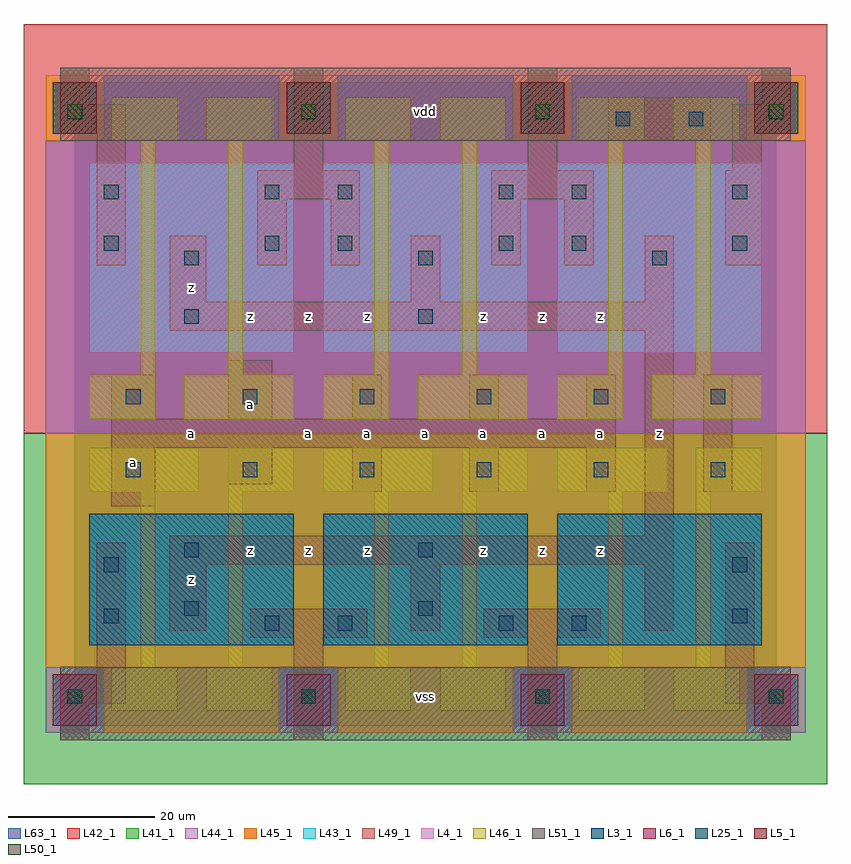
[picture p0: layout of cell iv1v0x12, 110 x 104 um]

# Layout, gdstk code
import gdstk
lib = gdstk.Library(unit=1e-6, precision=1e-09)
def R(c, l, rs):  # rectangles x0, y0, x1, y1
    for r in rs: c.add(gdstk.rectangle(r[:2], r[2:], *l))
def A(c, l, x, y, w, h, nx, ny, dx, dy):  # array of equal rectangles
    R(c, l, [(x+i*dx, y+j*dy, x+i*dx+w, y+j*dy+h) for i in range(nx) for j in range(ny)])
L3_1 = (3, 1)
L4_1 = (4, 1)
L5_1 = (5, 1)
L6_1 = (6, 1)
L25_1 = (25, 1)
L41_1 = (41, 1)
L42_1 = (42, 1)
L43_1 = (43, 1)
L44_1 = (44, 1)
L45_1 = (45, 1)
L46_1 = (46, 1)
L49_1 = (49, 1)
L50_1 = (50, 1)
L51_1 = (51, 1)
L63_1 = (63, 1)

iv1v0x12 = lib.new_cell('iv1v0x12')
A(iv1v0x12, L3_1, 2, 11, 28, 18, 3, 1, 32, 0)
A(iv1v0x12, L4_1, 2, 51, 28, 26, 3, 1, 32, 0)
A(iv1v0x12, L5_1, -3, 81, 6, 7, 4, 1, 32, 0)
R(iv1v0x12, L6_1, [(-3,0,3,7), (-3,0,3,7), (29,0,35,7), (29,0,35,7), (61,0,67,7), (61,0,67,7), (93,0,99,7), (93,0,99,7)])
A(iv1v0x12, L25_1, -1, 3, 2, 2, 4, 2, 32, 80)
A(iv1v0x12, L25_1, 7, 34, 2, 2, 6, 2, 16, 10)
A(iv1v0x12, L25_1, 15, 63, 2, 2, 3, 1, 32, 0)
R(iv1v0x12, L25_1, [(26,13,28,15), (36,13,38,15), (58,13,60,15), (68,13,70,15), (4,14,6,16), (90,14,92,16), (15,15,17,17), (47,15,49,17), (4,21,6,23), (90,21,92,23), (15,23,17,25), (47,23,49,25), (15,55,17,57), (47,55,49,57), (4,65,6,67), (26,65,28,67), (36,65,38,67), (58,65,60,67), (68,65,70,67), (90,65,92,67), (4,72,6,74), (26,72,28,74), (36,72,38,74), (58,72,60,74), (68,72,70,74), (90,72,92,74), (74,82,76,84), (84,82,86,84)])
R(iv1v0x12, L41_1, [(-7,-8,103,40)])
R(iv1v0x12, L42_1, [(-7,40,103,96)])
A(iv1v0x12, L43_1, -3, 0, 6, 7, 4, 2, 32, 81)
A(iv1v0x12, L43_1, 2, 11, 28, 18, 3, 1, 32, 0)
A(iv1v0x12, L43_1, 2, 51, 28, 26, 3, 1, 32, 0)
A(iv1v0x12, L44_1, -4, -1, 8, 9, 4, 1, 32, 0)
A(iv1v0x12, L44_1, 4, 80, 24, 9, 3, 1, 32, 0)
R(iv1v0x12, L44_1, [(-4,40,100,80)])
A(iv1v0x12, L45_1, 4, -1, 24, 9, 3, 1, 32, 0)
A(iv1v0x12, L45_1, -4, 80, 8, 9, 4, 1, 32, 0)
R(iv1v0x12, L45_1, [(-4,8,100,40)])
A(iv1v0x12, L46_1, 2, 32, 15, 6, 3, 1, 32, 0)
A(iv1v0x12, L46_1, 21, 32, 9, 6, 3, 1, 32, 0)
A(iv1v0x12, L46_1, 2, 42, 9, 6, 3, 1, 32, 0)
A(iv1v0x12, L46_1, 15, 42, 15, 6, 3, 1, 32, 0)
R(iv1v0x12, L46_1, [(5,2,14,8), (18,2,27,8), (37,2,46,8), (50,2,59,8), (69,2,78,8), (82,2,91,8), (9,8,11,32), (21,8,23,32), (41,8,43,32), (53,8,55,32), (73,8,75,32), (85,8,87,32), (9,48,11,80), (21,48,23,80), (41,48,43,80), (53,48,55,80), (73,48,75,80), (85,48,87,80), (5,80,14,86), (18,80,27,86), (37,80,46,86), (50,80,59,86), (69,80,78,86), (82,80,91,86)])
A(iv1v0x12, L49_1, 38, 32, 4, 6, 3, 2, 16, 10)
R(iv1v0x12, L49_1, [(-2,-2,2,3), (30,-2,34,12), (62,-2,66,12), (94,-2,98,3), (-2,3,7,7), (89,3,98,7), (3,7,7,25), (89,7,93,25), (24,12,40,16), (56,12,72,16), (13,13,18,22), (46,13,50,22), (78,13,82,22), (13,22,82,26), (78,26,82,54), (5,30,11,38), (86,32,90,48), (21,33,27,38), (5,38,74,42), (5,42,11,48), (21,42,27,50), (13,54,82,58), (13,58,18,67), (46,58,50,67), (78,58,82,67), (3,63,7,81), (25,63,29,72), (35,63,39,72), (57,63,61,72), (67,63,71,72), (89,63,94,76), (25,72,39,76), (57,72,71,76), (30,76,34,90), (62,76,66,90), (90,76,94,81), (73,80,87,86), (-2,81,7,85), (90,81,98,85), (-2,85,2,90), (94,85,98,90)])
A(iv1v0x12, L50_1, -1, 3, 2, 2, 4, 2, 32, 80)
R(iv1v0x12, L51_1, [(-2,-2,98,8), (-2,80,98,90)])
R(iv1v0x12, L63_1, [(0,0,96,88)])
iv1v0x12.add(gdstk.Label('a', (8,36), layer=49, texttype=1))
iv1v0x12.add(gdstk.Label('z', (16,20), layer=49, texttype=1))
iv1v0x12.add(gdstk.Label('z', (32,24), layer=49, texttype=1))
iv1v0x12.add(gdstk.Label('z', (24,24), layer=49, texttype=1))
iv1v0x12.add(gdstk.Label('a', (16,40), layer=49, texttype=1))
iv1v0x12.add(gdstk.Label('a', (32,40), layer=49, texttype=1))
iv1v0x12.add(gdstk.Label('a', (24,44), layer=49, texttype=1))
iv1v0x12.add(gdstk.Label('z', (24,56), layer=49, texttype=1))
iv1v0x12.add(gdstk.Label('z', (32,56), layer=49, texttype=1))
iv1v0x12.add(gdstk.Label('z', (16,60), layer=49, texttype=1))
iv1v0x12.add(gdstk.Label('z', (40,24), layer=49, texttype=1))
iv1v0x12.add(gdstk.Label('z', (56,24), layer=49, texttype=1))
iv1v0x12.add(gdstk.Label('a', (40,40), layer=49, texttype=1))
iv1v0x12.add(gdstk.Label('a', (56,40), layer=49, texttype=1))
iv1v0x12.add(gdstk.Label('a', (48,40), layer=49, texttype=1))
iv1v0x12.add(gdstk.Label('z', (56,56), layer=49, texttype=1))
iv1v0x12.add(gdstk.Label('z', (40,56), layer=49, texttype=1))
iv1v0x12.add(gdstk.Label('z', (72,24), layer=49, texttype=1))
iv1v0x12.add(gdstk.Label('z', (64,24), layer=49, texttype=1))
iv1v0x12.add(gdstk.Label('a', (72,40), layer=49, texttype=1))
iv1v0x12.add(gdstk.Label('a', (64,40), layer=49, texttype=1))
iv1v0x12.add(gdstk.Label('z', (64,56), layer=49, texttype=1))
iv1v0x12.add(gdstk.Label('z', (72,56), layer=49, texttype=1))
iv1v0x12.add(gdstk.Label('z', (80,40), layer=49, texttype=1))
iv1v0x12.add(gdstk.Label('vss', (48,4), layer=51, texttype=1))
iv1v0x12.add(gdstk.Label('vdd', (48,84), layer=51, texttype=1))

lib.write_gds('iv1v0x12.gds')
